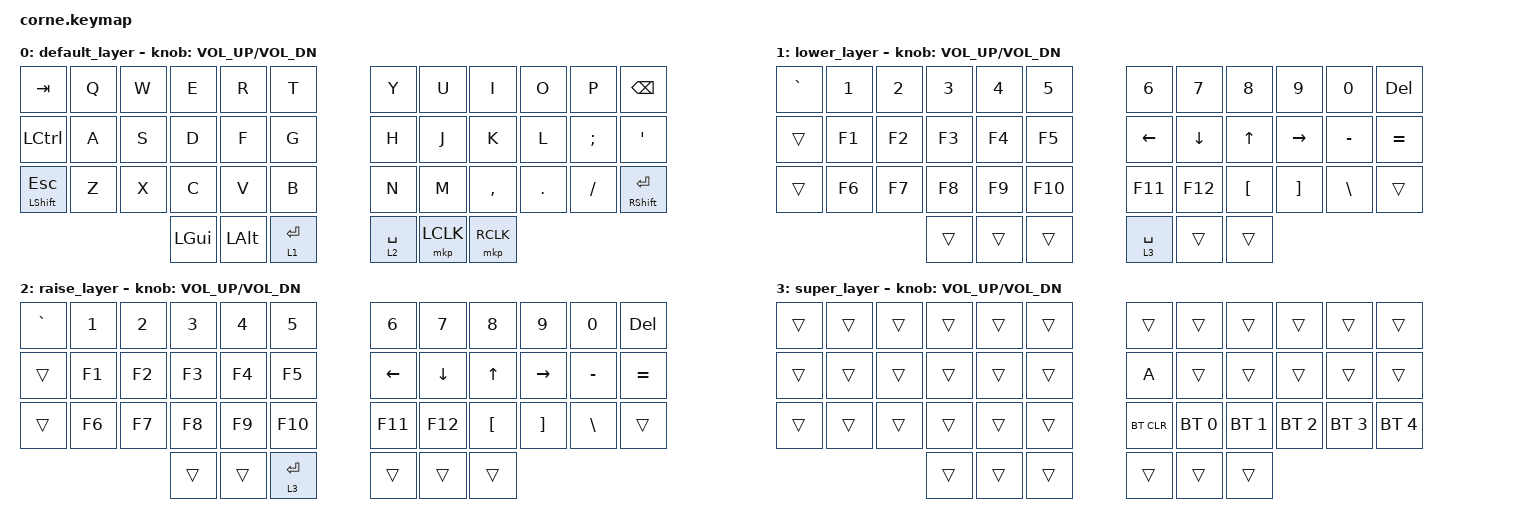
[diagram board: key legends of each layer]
/*
 * Copyright (c) 2020 The ZMK Contributors
 *
 * SPDX-License-Identifier: MIT
 */

#include <behaviors.dtsi>
#include <dt-bindings/zmk/keys.h>
#include <dt-bindings/zmk/bt.h>
#include <dt-bindings/zmk/mouse.h>
/ {
        keymap {
                compatible = "zmk,keymap";

                default_layer {
// -----------------------------------------------------------------------------------------
// |  TAB |  Q  |  W  |  E  |  R  |  T  |   |  Y  |  U   |  I  |  O  |  P  | BKSP |
// | CTRL |  A  |  S  |  D  |  F  |  G  |   |  H  |  J   |  K  |  L  |  ;  |  '   |
// | SHFT |  Z  |  X  |  C  |  V  |  B  |   |  N  |  M   |  ,  |  .  |  /  | SHFT |
//                    | GUI | ALT | RET |   | SPC | MLC  | MRC |
                        bindings = <
   &kp TAB       &kp Q        &kp W        &kp E        &kp R        &kp T         &kp Y         &kp U         &kp I        &kp O        &kp P        &kp BSPC
   &kp LCTRL     &kp A        &kp S        &kp D        &kp F        &kp G         &kp H         &kp J         &kp K        &kp L        &kp SEMI     &kp SQT
   &mt LSHFT ESC &kp Z        &kp X        &kp C        &kp V        &kp B         &kp N         &kp M         &kp COMMA    &kp DOT      &kp FSLH     &mt RSHFT RET
                                           &kp LGUI     &kp LALT     &lt 1 RET     &lt 2 SPACE   &mkp LCLK     &mkp RCLK
                        >;

			sensor-bindings = <&inc_dec_kp C_VOL_UP C_VOL_DN>;
                };
                lower_layer { /* Lower */
// -----------------------------------------------------------------------------------------
// |  `   |  1  |  2  |  3  |  4  |  5  |   |  6  |  7  |  8  |  9  |  0  | DEL  |
// |      |  F1 |  F2 |  F3 |  F4 |  F5 |   | LFT | DWN |  UP | RGT |  -  |  =   |
// |      |  F6 |  F7 |  F8 |  F9 | F10 |   | F11 | F12 |  [  |  ]  |  \  |      |
//                    |     |     |     |   | SPC |     |     |
                        bindings = <
   &kp GRAVE  &kp N1       &kp N2       &kp N3       &kp N4       &kp N5              &kp N6     &kp N7    &kp N8   &kp N9      &kp N0     &kp DEL
   &trans     &kp F1       &kp F2       &kp F3       &kp F4       &kp F5              &kp LEFT   &kp DOWN  &kp UP   &kp RIGHT   &kp MINUS  &kp EQUAL
   &trans     &kp F6       &kp F7       &kp F8       &kp F9       &kp F10             &kp F11    &kp F12   &kp LBKT &kp RBKT    &kp BSLH   &trans
                                        &trans       &trans       &trans              &lt 3 SPC  &trans    &trans
                        >;

			sensor-bindings = <&inc_dec_kp C_VOL_UP C_VOL_DN>;
                };

                raise_layer { /* Raise */
// -----------------------------------------------------------------------------------------
// |  `   |  1  |  2  |  3  |  4  |  5  |   |  6  |  7  |  8  |  9  |  0  | DEL  |
// |      |  F1 |  F2 |  F3 |  F4 |  F5 |   | LFT | DWN |  UP | RGT |  -  |  =   |
// |      |  F6 |  F7 |  F8 |  F9 | F10 |   | F11 | F12 |  [  |  ]  |  \  |      |
//                    |     |     | RET |   |     |     |     |
                        bindings = <
   &kp GRAVE  &kp N1       &kp N2       &kp N3       &kp N4       &kp N5              &kp N6     &kp N7    &kp N8   &kp N9      &kp N0     &kp DEL
   &trans     &kp F1       &kp F2       &kp F3       &kp F4       &kp F5              &kp LEFT   &kp DOWN  &kp UP   &kp RIGHT   &kp MINUS  &kp EQUAL
   &trans     &kp F6       &kp F7       &kp F8       &kp F9       &kp F10             &kp F11    &kp F12   &kp LBKT &kp RBKT    &kp BSLH   &trans
                                        &trans       &trans       &lt 3 RET           &trans     &trans    &trans
                        >;

			sensor-bindings = <&inc_dec_kp C_VOL_UP C_VOL_DN>;
                };

                super_layer { /* Super */
// -----------------------------------------------------------------------------------------
// |      |     |     |     |     |     |   |      |     |     |     |     |      |
// |      |     |     |     |     |     |   |      |     |     |     |     |      |
// |      |     |     |     |     |     |   | BTCLR| BT1 | BT2 | BT3 | BT4 | BT5  |
//                    |     |     |     |   |      |     |     |
                        bindings = <
   &trans    &trans    &trans  &trans   &trans       &trans       &trans     &trans       &trans       &trans       &trans       &trans
   &trans    &trans    &trans  &trans   &trans       &trans       &kp A      &trans       &trans       &trans       &trans       &trans
   &trans    &trans    &trans  &trans   &trans       &trans       &bt BT_CLR &bt BT_SEL 0 &bt BT_SEL 1 &bt BT_SEL 2 &bt BT_SEL 3 &bt BT_SEL 4
                               &trans   &trans       &trans       &trans     &trans       &trans
                        >;

			sensor-bindings = <&inc_dec_kp C_VOL_UP C_VOL_DN>;
                };
        };
};





